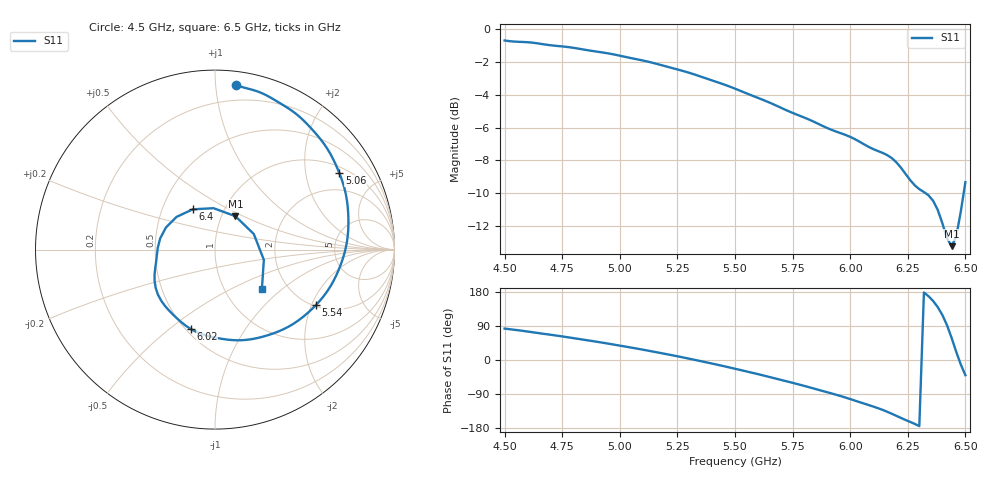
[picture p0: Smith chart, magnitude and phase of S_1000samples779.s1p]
! TOUCHSTONE file generated by CST MICROWAVE STUDIO
! Date and time: Sat Oct 29 08:39:17 2022
! Project name: L.cst
! Parameters = {Di=1.27; Epsilon_r=1.56; InnerDiameter=1.27; Length=2; Lf=10; Lg=60; OuterConductorThickness=0.2921; OuterDiameter=3.6; Wf=3; Wp=41.2; de=1.5; df=6.8; g=0.8; gx=1.76377; gy=2.98484; h=2.34; hf=1.524; px=10.3965; py=13.0769; w=9.7; wx=8.63273; wy=10.092}
! Header version: 2018
! Port assignment regex: !\s*Touchstone port\s*([0-9]+)\s*=\s*(CST MWS port|CST DS port)\s*([0-9]+|Zmin|Zmax)\s*\(\"(.*)\"\)(\s*mode\s*([0-9]+))?.*
! Touchstone port assignment:
! Touchstone port 1 = CST MWS port 1 ("")
# GHz S DB R 50
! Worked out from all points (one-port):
!   101 points, 4.5 GHz to 6.5 GHz, reference 50 ohm
!   lowest |S11| = -13.2 dB at 6.44 GHz (marker M1), VSWR 1.56, Z = 58 + j22.7 ohm
!   |S11| at or under -10 dB: 6.327 GHz to 6.492 GHz (165.2 MHz wide, 2.58 % of centre)
!   S11 on the Smith chart (normalised r, x): 4.5 GHz: 0.09, +1.13; 5.06 GHz: 1.22, +3.09; 5.54 GHz: 2.05, -2.15; 6.02 GHz: 0.53, -0.60; 6.4 GHz: 0.71, +0.34; 6.5 GHz: 1.49, -0.74
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4.5  -0.68 82.8
4.62  -0.82 73.4
4.76  -1.06 61.3
4.9  -1.36 48.2
5  -1.61 37.9
5.06  -1.79 31.6
5.16  -2.11 20.4
5.26  -2.49 8.6
5.38  -3.03 -6.7
5.5  -3.62 -23.1
5.54  -3.85 -28.8
5.66  -4.54 -46.5
5.76  -5.16 -61.8
5.86  -5.76 -78.3
6  -6.56 -103.1
6.02  -6.70 -107.0
6.12  -7.43 -127.0
6.18  -7.85 -141.7
6.26  -9.19 -163.3
6.34  -10.13 168.3
6.36  -10.46 155.7
6.38  -11.02 139.6
6.4  -11.83 118.8
6.42  -12.73 92.1
6.44  -13.23 58.6
6.46  -12.65 21.9
6.48  -11.12 -11.8
6.5  -9.32 -40.1
